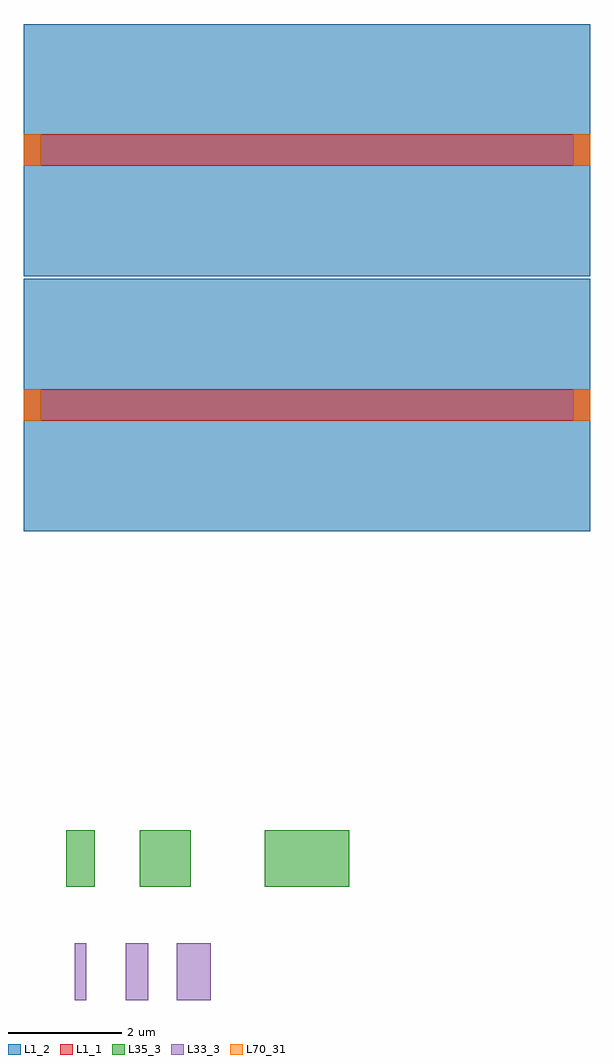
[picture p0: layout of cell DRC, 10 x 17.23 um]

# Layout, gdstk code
import gdstk
lib = gdstk.Library(unit=1e-6, precision=1e-09)
def R(c, l, rs):  # rectangles x0, y0, x1, y1
    for r in rs: c.add(gdstk.rectangle(r[:2], r[2:], *l))
def P(c, l, *ps):  # polygons
    for p in ps: c.add(gdstk.Polygon(p, *l))
L1_1 = (1, 1)
L1_2 = (1, 2)
L33_3 = (33, 3)
L35_3 = (35, 3)
L70_31 = (70, 31)

c_wg = lib.new_cell('wg')
R(c_wg, L1_1, [(0,-0.275,10,0.275)])
P(c_wg, L1_2, [(0,2.225),(10,2.225),(10,0.275),(10,-0.275),(10,-2.225),(0,-2.225),(0,-0.275),(0,0.275)])

straight = lib.new_cell('Straight')
R(straight, L70_31, [(0,-0.275,0.3,0.275), (9.7,-0.275,10,0.275)])
straight.add(gdstk.Reference(c_wg, (0,0)))
straight.add(gdstk.Label('op_0', (0,0), layer=70, texttype=41))
straight.add(gdstk.Label('op_1', (10,0), layer=70, texttype=41))

drc = lib.new_cell('DRC')
R(drc, L33_3, [(0.9,-0.5,1.1,0.5), (1.8,-0.5,2.2,0.5), (2.7,-0.5,3.3,0.5)])
R(drc, L35_3, [(0.75,1.5,1.25,2.5), (2.05,1.5,2.95,2.5), (4.25,1.5,5.75,2.5)])
drc.add(gdstk.Reference(straight, (0,10)))
drc.add(gdstk.Reference(straight, (0,14.5)))

lib.write_gds('DRC.gds')
